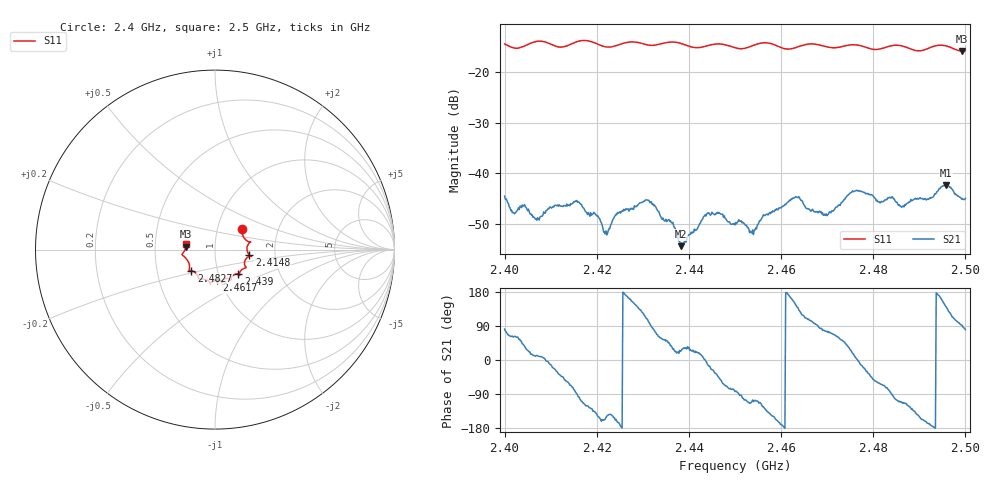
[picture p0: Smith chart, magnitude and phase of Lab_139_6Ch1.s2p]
# Hz S RI R 50
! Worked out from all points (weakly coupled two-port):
!   601 points, 2.4 GHz to 2.5 GHz, reference 50 ohm
!   highest |S21| = -42.36 dB at 2.4958 GHz (marker M1); lowest = -54.5 dB at 2.4383 GHz (marker M2)
!   lowest |S11| = -15.8 dB at 2.4992 GHz (marker M3), VSWR 1.39, Z = 36.1 + j1.19 ohm
!   |S11| at or under -10 dB: start of sweep to end of sweep
!   S12 and S22 are empty: the file has one direction only
!   S11 on the Smith chart (normalised r, x): 2.4 GHz: 1.32, +0.32; 2.4148 GHz: 1.47, -0.09; 2.439 GHz: 1.24, -0.35; 2.4617 GHz: 0.96, -0.34; 2.4827 GHz: 0.75, -0.18; 2.5 GHz: 0.72, +0.05
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2.4e9  0.152 0.1157  0.00089 0.00587  0 0  0 0
2.407e9  0.1983 0.0427  0.00335 0.000717  0 0  0 0
2.414833e9  0.1919 -0.0307  0.00151 -0.00483  0 0  0 0
2.416667e9  0.2028 -0.0387  -0.00159 -0.00465  0 0  0 0
2.422e9  0.1696 -0.0556  -0.00236 -0.00128  0 0  0 0
2.4305e9  0.1557 -0.1076  -0.00228 0.00488  0 0  0 0
2.433333e9  0.1369 -0.1305  0.00194 0.00372  0 0  0 0
2.438333e9  0.1336 -0.1393  0.00172 0.000798  0 0  0 0
2.439e9  0.1294 -0.1369  0.00181 0.00106  0 0  0 0
2.443833e9  0.0891 -0.1599  0.00393 -0.000402  0 0  0 0
2.45e9  0.0707 -0.1608  0.000365 -0.00305  0 0  0 0
2.453667e9  0.0406 -0.1784  -0.000862 -0.0024  0 0  0 0
2.461667e9  0.00868 -0.17  -0.00521 0.000816  0 0  0 0
2.466667e9  -0.0263 -0.1898  -0.000883 0.00422  0 0  0 0
2.469833e9  -0.0361 -0.1758  0.000944 0.00384  0 0  0 0
2.476e9  -0.0888 -0.1653  0.00657 0.0011  0 0  0 0
2.482667e9  -0.1324 -0.1173  0.0017 -0.00516  0 0  0 0
2.483333e9  -0.138 -0.1167  0.00113 -0.00559  0 0  0 0
2.4865e9  -0.1438 -0.111  -0.00179 -0.00438  0 0  0 0
2.495833e9  -0.1812 -0.0235  -0.00586 0.00486  0 0  0 0
2.499167e9  -0.1619 0.016  -0.000257 0.00553  0 0  0 0
2.5e9  -0.1611 0.0313  0.000971 0.00554  0 0  0 0
